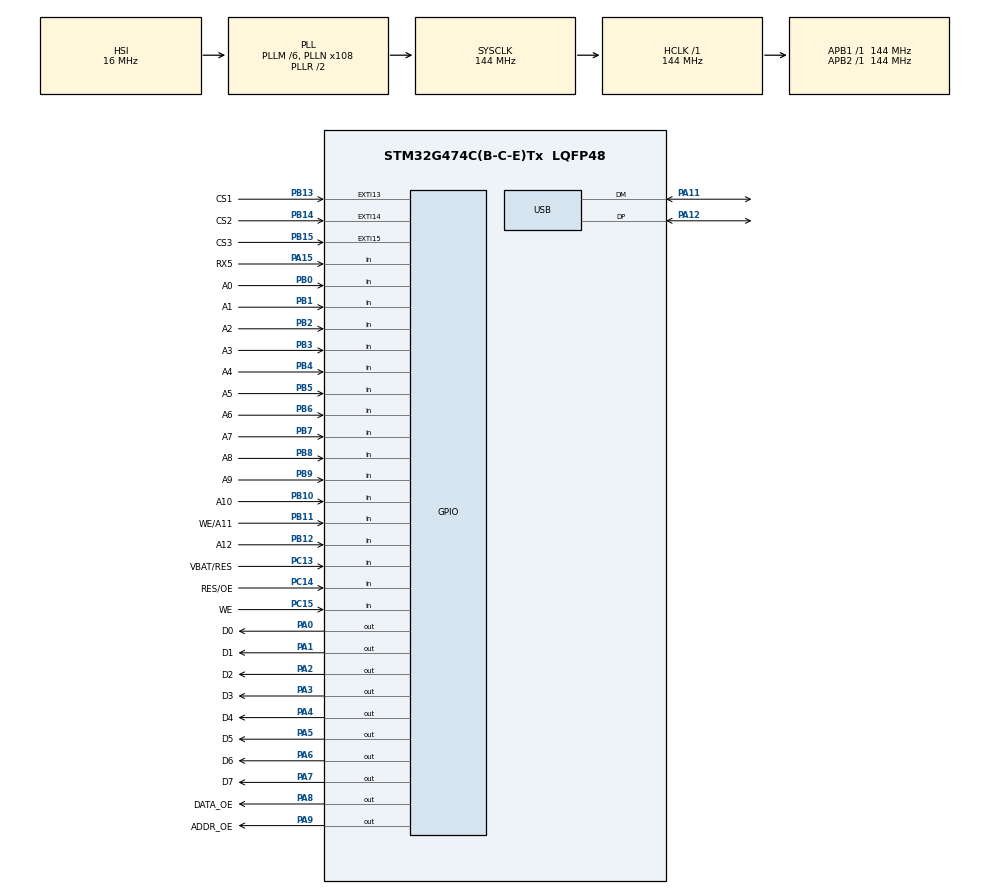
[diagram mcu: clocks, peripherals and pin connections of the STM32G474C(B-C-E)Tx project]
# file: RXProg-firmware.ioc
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Mcu.Family=STM32G4
Mcu.Name=STM32G474C(B-C-E)Tx
Mcu.Package=LQFP48
NVIC.EXTI15_10_IRQn=true\:0\:0\:false\:false\:true\:true\:true\:true
NVIC.PriorityGroup=NVIC_PRIORITYGROUP_4
NVIC.USB_LP_IRQn=true\:1\:0\:true\:false\:true\:false\:true\:true
PA0.GPIO_Label=D0
PA0.Signal=GPIO_Output
PA1.GPIO_Label=D1
PA1.Signal=GPIO_Output
PA11.Mode=Device
PA11.Signal=USB_DM
PA12.Mode=Device
PA12.Signal=USB_DP
PA15.GPIO_Label=RX5
PA15.GPIO_PuPd=GPIO_PULLUP
PA15.Signal=GPIO_Input
PA2.GPIO_Label=D2
PA2.Signal=GPIO_Output
PA3.GPIO_Label=D3
PA3.Signal=GPIO_Output
PA4.GPIO_Label=D4
PA4.Signal=GPIO_Output
PA5.GPIO_Label=D5
PA5.Signal=GPIO_Output
PA6.GPIO_Label=D6
PA6.Signal=GPIO_Output
PA7.GPIO_Label=D7
PA7.Signal=GPIO_Output
PA8.GPIO_Label=DATA_OE
PA8.Signal=GPIO_Output
PA9.GPIO_Label=ADDR_OE
PA9.Signal=GPIO_Output
PB0.GPIO_Label=A0
PB0.Signal=GPIO_Input
PB1.GPIO_Label=A1
PB1.Signal=GPIO_Input
PB10.GPIO_Label=A10
PB10.Signal=GPIO_Input
PB11.GPIO_Label=WE/A11
PB11.Signal=GPIO_Input
PB12.GPIO_Label=A12
PB12.Signal=GPIO_Input
PB13.GPIO_Label=CS1
PB13.GPIO_ModeDefaultEXTI=GPIO_MODE_IT_FALLING
PB13.Signal=GPXTI13
PB14.GPIO_Label=CS2
PB14.GPIO_ModeDefaultEXTI=GPIO_MODE_IT_FALLING
PB14.Signal=GPXTI14
PB15.GPIO_Label=CS3
PB15.GPIO_ModeDefaultEXTI=GPIO_MODE_IT_FALLING
PB15.Signal=GPXTI15
PB2.GPIO_Label=A2
PB2.Signal=GPIO_Input
PB3.GPIO_Label=A3
PB3.Signal=GPIO_Input
PB4.GPIO_Label=A4
PB4.Signal=GPIO_Input
PB5.GPIO_Label=A5
PB5.Signal=GPIO_Input
PB6.GPIO_Label=A6
PB6.Signal=GPIO_Input
PB7.GPIO_Label=A7
PB7.Signal=GPIO_Input
PB8-BOOT0.GPIO_Label=A8
PB8-BOOT0.Signal=GPIO_Input
PB9.GPIO_Label=A9
PB9.Signal=GPIO_Input
PC13.GPIO_Label=VBAT/RES
PC13.Signal=GPIO_Input
PC14-OSC32_IN.GPIO_Label=RES/OE
PC14-OSC32_IN.Signal=GPIO_Input
PC15-OSC32_OUT.GPIO_Label=WE
PC15-OSC32_OUT.Signal=GPIO_Input
ProjectManager.HeapSize=0x200
ProjectManager.StackSize=0x400
ProjectManager.TargetToolchain=STM32CubeIDE
RCC.ADC12Freq_Value=144000000
RCC.ADC345Freq_Value=144000000
RCC.AHBFreq_Value=144000000
RCC.APB1Freq_Value=144000000
RCC.APB1TimFreq_Value=144000000
RCC.APB2Freq_Value=144000000
RCC.APB2TimFreq_Value=144000000
RCC.CK48CLockSelection=RCC_USBCLKSOURCE_HSI48
RCC.CortexFreq_Value=144000000
RCC.EXTERNAL_CLOCK_VALUE=12288000
RCC.HCLKFreq_Value=144000000
RCC.HSE_VALUE=8000000
RCC.HSI48_VALUE=48000000
RCC.HSI_VALUE=16000000
RCC.LSE_VALUE=32768
RCC.PLLM=RCC_PLLM_DIV6
RCC.PLLN=108
RCC.PLLQ=RCC_PLLQ_DIV6
RCC.SYSCLKFreq_VALUE=144000000
RCC.SYSCLKSource=RCC_SYSCLKSOURCE_PLLCLK
RCC.USBFreq_Value=48000000
RCC.VCOOutputFreq_Value=288000000
USB_DEVICE.APP_RX_DATA_SIZE=1024
USB_DEVICE.APP_TX_DATA_SIZE=1024
USB_DEVICE.CLASS_NAME_FS=CDC
USB_DEVICE.VirtualMode=Cdc
USB_DEVICE.VirtualModeFS=Cdc_FS
VP_SYS_VS_DBSignals.Mode=DisableDeadBatterySignals
VP_USB_DEVICE_VS_USB_DEVICE_CDC_FS.Mode=CDC_FS
board=custom

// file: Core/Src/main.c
/* USER CODE BEGIN Header */
/**
  ******************************************************************************
  * @file           : main.c
  * @brief          : Main program body
  ******************************************************************************
  * @attention
  *
  * Copyright (c) 2026 STMicroelectronics.
  * All rights reserved.
  *
  * This software is licensed under terms that can be found in the LICENSE file
  * in the root directory of this software component.
  * If no LICENSE file comes with this software, it is provided AS-IS.
  *
  ******************************************************************************
  */
/* USER CODE END Header */
#include "main.h"
#include "usb_device.h"

/* USER CODE BEGIN Includes */
#include "usbd_cdc_if.h"
/* USER CODE END Includes */

/* USER CODE BEGIN PTD */
typedef void (*exti_handler_t)(uint16_t GPIO_Pin);
/* USER CODE END PTD */

/* USER CODE BEGIN PD */
#define GPIOA_OUTPUT_MODE 0x2BF55555
#define GPIOA_INPUT_MODE  0x2BF50000

#define SAVE_ADDR 0x0807A000UL
#define BANK_SIZE 8192u
/* USER CODE END PD */

/* USER CODE BEGIN PV */

static uint8_t RX5 = 0;

static volatile uint8_t ram1_data[BANK_SIZE];
static volatile uint8_t ram2_data[BANK_SIZE];
static volatile uint8_t ram3_data[BANK_SIZE];

// Count accesses to each address
static volatile uint16_t ram1_count[BANK_SIZE];
static volatile uint16_t ram2_count[BANK_SIZE];
static volatile uint16_t ram3_count[BANK_SIZE];

volatile uint8_t dump_request = 0;

/* USER CODE END PV */

void SystemClock_Config(void);
static void MX_GPIO_Init(void);
/* USER CODE BEGIN PFP */
static void write_ram_to_flash(void);
static void usb_send(const uint8_t *data, uint32_t len);
/* USER CODE END PFP */

int main(void)
{

  /* USER CODE BEGIN 1 */

  uint32_t last_reset_edge_time = 0;
  GPIO_PinState last_reset_state = 0;

  /* USER CODE END 1 */

  /* MCU Configuration--------------------------------------------------------*/

  /* Reset of all peripherals, Initializes the Flash interface and the Systick. */
  HAL_Init();

  /* Configure the system clock */
  SystemClock_Config();

  /* Initialize all configured peripherals */
  MX_GPIO_Init();
  MX_USB_Device_Init();
  /* USER CODE BEGIN 2 */

  // Check if RX5 jumper is shorted
  RX5 = (HAL_GPIO_ReadPin(RX5_GPIO_Port, RX5_Pin) == GPIO_PIN_RESET);

  // Enable both level shifters
  HAL_GPIO_WritePin(ADDR_OE_GPIO_Port, ADDR_OE_Pin, GPIO_PIN_RESET);
  HAL_GPIO_WritePin(DATA_OE_GPIO_Port, DATA_OE_Pin, GPIO_PIN_RESET);

  CDC_Printf("Copying saved flash data to RAM...\n");

  // Copy saved flash values to buffers
  memcpy((void *)ram1_data, (const void *)(SAVE_ADDR + 0 * BANK_SIZE), BANK_SIZE);
  memcpy((void *)ram2_data, (const void *)(SAVE_ADDR + 1 * BANK_SIZE), BANK_SIZE);
  memcpy((void *)ram3_data, (const void *)(SAVE_ADDR + 2 * BANK_SIZE), BANK_SIZE);

  CDC_Printf("Done.\n");

  /* USER CODE END 2 */

  /* Infinite loop */
   while (1)
   {

    /* USER CODE BEGIN 3 */

     if (dump_request)
     {
       usb_send((const uint8_t *)ram1_count, sizeof(uint16_t));
       usb_send((const uint8_t *)ram2_count, sizeof(uint16_t));
       usb_send((const uint8_t *)ram3_count, sizeof(uint16_t));
       dump_request = 0;
     }

     GPIO_PinState reset_state;
     if (RX5)
       reset_state = !HAL_GPIO_ReadPin(VBAT_RES_GPIO_Port, VBAT_RES_Pin);
     else
       reset_state = HAL_GPIO_ReadPin(RES_OE_GPIO_Port, RES_OE_Pin);

     if (reset_state)
     {
       if (!last_reset_state)
         last_reset_edge_time = HAL_GetTick();

       if (HAL_GetTick() - last_reset_edge_time > 1000)
       {
         // Go into reset

         // Copy ram buffers to flash
         write_ram_to_flash();

         HAL_GPIO_WritePin(ADDR_OE_GPIO_Port, ADDR_OE_Pin, GPIO_PIN_SET);
         HAL_GPIO_WritePin(DATA_OE_GPIO_Port, DATA_OE_Pin, GPIO_PIN_SET);

         GPIOA->MODER = 0xFFF5FFFF; // Keep addr/data level shifters disabled
         GPIOB->MODER = 0xFFFFFFFF;
         GPIOC->MODER = 0xC3FFFFFF; // Set all analog but the reset lines

         // Configure interrupts on reset lines
         GPIO_InitTypeDef GPIO_InitStruct = {0};
         GPIO_InitStruct.Pin = VBAT_RES_Pin|RES_OE_Pin;
         GPIO_InitStruct.Mode = GPIO_MODE_IT_RISING_FALLING;
         GPIO_InitStruct.Pull = GPIO_NOPULL;
         HAL_GPIO_Init(GPIOC, &GPIO_InitStruct);

         HAL_SuspendTick();
         HAL_PWREx_EnterSTOP1Mode(PWR_STOPENTRY_WFI);

         // The STM is now waiting for the device to power up again

         // Re-init everything
         SystemClock_Config();
         HAL_ResumeTick();
         MX_GPIO_Init();

         // Enable both level shifters
         HAL_GPIO_WritePin(ADDR_OE_GPIO_Port, ADDR_OE_Pin, GPIO_PIN_RESET);
         HAL_GPIO_WritePin(DATA_OE_GPIO_Port, DATA_OE_Pin, GPIO_PIN_RESET);
       }
     }

     last_reset_state = reset_state;
   }
  /* USER CODE END 3 */
}

void SystemClock_Config(void)
{
  RCC_OscInitTypeDef RCC_OscInitStruct = {0};
  RCC_ClkInitTypeDef RCC_ClkInitStruct = {0};

  /** Configure the main internal regulator output voltage
  */
  HAL_PWREx_ControlVoltageScaling(PWR_REGULATOR_VOLTAGE_SCALE1);

  /** Initializes the RCC Oscillators according to the specified parameters
  * in the RCC_OscInitTypeDef structure.
  */
  RCC_OscInitStruct.OscillatorType = RCC_OSCILLATORTYPE_HSI|RCC_OSCILLATORTYPE_HSI48;
  RCC_OscInitStruct.HSIState = RCC_HSI_ON;
  RCC_OscInitStruct.HSICalibrationValue = RCC_HSICALIBRATION_DEFAULT;
  RCC_OscInitStruct.HSI48State = RCC_HSI48_ON;
  RCC_OscInitStruct.PLL.PLLState = RCC_PLL_ON;
  RCC_OscInitStruct.PLL.PLLSource = RCC_PLLSOURCE_HSI;
  RCC_OscInitStruct.PLL.PLLM = RCC_PLLM_DIV6;
  RCC_OscInitStruct.PLL.PLLN = 108;
  RCC_OscInitStruct.PLL.PLLP = RCC_PLLP_DIV2;
  RCC_OscInitStruct.PLL.PLLQ = RCC_PLLQ_DIV6;
  RCC_OscInitStruct.PLL.PLLR = RCC_PLLR_DIV2;
  if (HAL_RCC_OscConfig(&RCC_OscInitStruct) != HAL_OK)
  {
    Error_Handler();
  }

  /** Initializes the CPU, AHB and APB buses clocks
  */
  RCC_ClkInitStruct.ClockType = RCC_CLOCKTYPE_HCLK|RCC_CLOCKTYPE_SYSCLK
                              |RCC_CLOCKTYPE_PCLK1|RCC_CLOCKTYPE_PCLK2;
  RCC_ClkInitStruct.SYSCLKSource = RCC_SYSCLKSOURCE_PLLCLK;
  RCC_ClkInitStruct.AHBCLKDivider = RCC_SYSCLK_DIV1;
  RCC_ClkInitStruct.APB1CLKDivider = RCC_HCLK_DIV1;
  RCC_ClkInitStruct.APB2CLKDivider = RCC_HCLK_DIV1;

  if (HAL_RCC_ClockConfig(&RCC_ClkInitStruct, FLASH_LATENCY_4) != HAL_OK)
  {
    Error_Handler();
  }
}

static void MX_GPIO_Init(void)
{
  GPIO_InitTypeDef GPIO_InitStruct = {0};

  /* GPIO Ports Clock Enable */
  __HAL_RCC_GPIOC_CLK_ENABLE();
  __HAL_RCC_GPIOA_CLK_ENABLE();
  __HAL_RCC_GPIOB_CLK_ENABLE();

  /*Configure GPIO pin Output Level */
  HAL_GPIO_WritePin(GPIOA, D0_Pin|D1_Pin|D2_Pin|D3_Pin
                          |D4_Pin|D5_Pin|D6_Pin|D7_Pin
                          |DATA_OE_Pin|ADDR_OE_Pin, GPIO_PIN_RESET);

  /*Configure GPIO pins : VBAT_RES_Pin RES_OE_Pin WE_Pin */
  GPIO_InitStruct.Pin = VBAT_RES_Pin|RES_OE_Pin|WE_Pin;
  GPIO_InitStruct.Mode = GPIO_MODE_INPUT;
  GPIO_InitStruct.Pull = GPIO_NOPULL;
  HAL_GPIO_Init(GPIOC, &GPIO_InitStruct);

  /*Configure GPIO pins : D0_Pin D1_Pin D2_Pin D3_Pin
                           D4_Pin D5_Pin D6_Pin D7_Pin
                           DATA_OE_Pin ADDR_OE_Pin */
  GPIO_InitStruct.Pin = D0_Pin|D1_Pin|D2_Pin|D3_Pin
                          |D4_Pin|D5_Pin|D6_Pin|D7_Pin
                          |DATA_OE_Pin|ADDR_OE_Pin;
  GPIO_InitStruct.Mode = GPIO_MODE_OUTPUT_PP;
  GPIO_InitStruct.Pull = GPIO_NOPULL;
  GPIO_InitStruct.Speed = GPIO_SPEED_FREQ_LOW;
  HAL_GPIO_Init(GPIOA, &GPIO_InitStruct);

  /*Configure GPIO pins : A0_Pin A1_Pin A2_Pin A10_Pin
                           WE_A11_Pin A12_Pin A3_Pin A4_Pin
                           A5_Pin A6_Pin A7_Pin A8_Pin
                           A9_Pin */
  GPIO_InitStruct.Pin = A0_Pin|A1_Pin|A2_Pin|A10_Pin
                          |WE_A11_Pin|A12_Pin|A3_Pin|A4_Pin
                          |A5_Pin|A6_Pin|A7_Pin|A8_Pin
                          |A9_Pin;
  GPIO_InitStruct.Mode = GPIO_MODE_INPUT;
  GPIO_InitStruct.Pull = GPIO_NOPULL;
  HAL_GPIO_Init(GPIOB, &GPIO_InitStruct);

  /*Configure GPIO pins : CS1_Pin CS2_Pin CS3_Pin */
  GPIO_InitStruct.Pin = CS1_Pin|CS2_Pin|CS3_Pin;
  GPIO_InitStruct.Mode = GPIO_MODE_IT_FALLING;
  GPIO_InitStruct.Pull = GPIO_NOPULL;
  HAL_GPIO_Init(GPIOB, &GPIO_InitStruct);

  /*Configure GPIO pin : RX5_Pin */
  GPIO_InitStruct.Pin = RX5_Pin;
  GPIO_InitStruct.Mode = GPIO_MODE_INPUT;
  GPIO_InitStruct.Pull = GPIO_PULLUP;
  HAL_GPIO_Init(RX5_GPIO_Port, &GPIO_InitStruct);

  /* EXTI interrupt init*/
  HAL_NVIC_SetPriority(EXTI15_10_IRQn, 0, 0);
  HAL_NVIC_EnableIRQ(EXTI15_10_IRQn);

}

/* USER CODE BEGIN 4 */

__attribute__((section(".RamFunc")))
void HAL_GPIO_EXTI_Callback(uint16_t GPIO_Pin)
{
  volatile uint8_t *ram_data;
  volatile uint16_t *ram_count;

  if (GPIO_Pin == CS1_Pin)
  {
    ram_data = ram1_data;
    ram_count = ram1_count;
  }
  else if (GPIO_Pin == CS2_Pin)
  {
    ram_data = ram2_data;
    ram_count = ram2_count;
  }
  else
  {
    ram_data = ram3_data;
    ram_count = ram3_count;
  }

  uint16_t addr = GPIOB->IDR & (RX5 ? 0x1FFF : 0x7FF);

  uint8_t reading = RX5 ? !(RES_OE_GPIO_Port->IDR & RES_OE_Pin)
                        : (WE_A11_GPIO_Port->IDR & WE_A11_Pin);

  if (reading) // CPU is reading
  {
    GPIOA->ODR =
      (GPIOA->ODR & 0xFFFFFF00)
      | (ram_data[addr] & 0xFF);

    GPIOA->MODER = GPIOA_OUTPUT_MODE; // Set port to output
  }
  else // CPU is writing
  {
    GPIOA->MODER = GPIOA_INPUT_MODE; // Set port to input

    ram_data[addr] = GPIOA->IDR & 0xFF;
  }

  ram_count[addr]++;
}

static void write_ram_to_flash(void)
{
  volatile uint8_t *bufs[3] = { ram1_data, ram2_data, ram3_data };

  HAL_FLASH_Unlock();
  __HAL_FLASH_CLEAR_FLAG(FLASH_FLAG_ALL_ERRORS);

  /* --- erase the save region --- */
  uint32_t dbank  = READ_BIT(FLASH->OPTR, FLASH_OPTR_DBANK);
  uint32_t pagesz = dbank ? 0x800u : 0x1000u; /* 2 KB vs 4 KB pages */

  FLASH_EraseInitTypeDef e = {0};
  e.TypeErase = FLASH_TYPEERASE_PAGES;
  e.NbPages   = (3u * BANK_SIZE) / pagesz;
  if (dbank) {
    e.Banks = FLASH_BANK_2;                          /* 0x08040000-0x0807FFFF */
    e.Page  = (SAVE_ADDR - 0x08040000UL) / pagesz;
  } else {
    e.Banks = FLASH_BANK_1;
    e.Page  = (SAVE_ADDR - 0x08000000UL) / pagesz;
  }
  uint32_t page_err;
  if (HAL_FLASHEx_Erase(&e, &page_err) != HAL_OK) { HAL_FLASH_Lock(); return; }

  /* --- program 8 bytes at a time --- */
  uint32_t addr = SAVE_ADDR;
  for (int b = 0; b < 3; b++) {
    for (uint32_t i = 0; i < BANK_SIZE; i += 8) {
      uint64_t dw;
      memcpy(&dw, (const void *)(bufs[b] + i), 8); /* avoids alignment/aliasing issues */
      if (HAL_FLASH_Program(FLASH_TYPEPROGRAM_DOUBLEWORD, addr, dw) != HAL_OK) {
        HAL_FLASH_Lock();
        return;
      }
      addr += 8;
    }
  }
  HAL_FLASH_Lock();
}

static void usb_send(const uint8_t *data, uint32_t len)
{
  while (len)
  {
    uint32_t chunk = len > APP_TX_DATA_SIZE ? APP_TX_DATA_SIZE : len;
    while (CDC_Transmit_FS((uint8_t *)data, chunk) == USBD_BUSY) { }  // wait for EP
    data += chunk;
    len  -= chunk;
  }
}

/* USER CODE END 4 */

void Error_Handler(void)
{
  __disable_irq();
  while (1)
  {
  }
}
